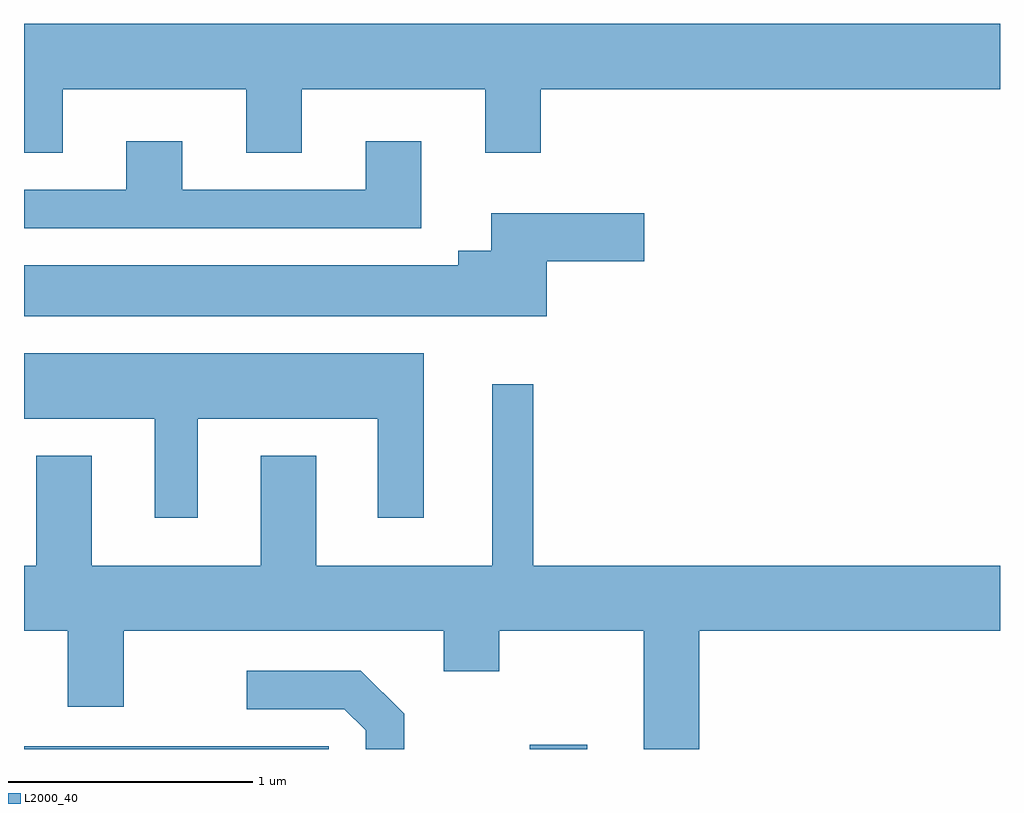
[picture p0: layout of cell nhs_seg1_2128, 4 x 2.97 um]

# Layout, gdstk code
import gdstk
lib = gdstk.Library(unit=1e-6, precision=1e-09)
def R(c, l, rs):  # rectangles x0, y0, x1, y1
    for r in rs: c.add(gdstk.rectangle(r[:2], r[2:], *l))
def P(c, l, *ps):  # polygons
    for p in ps: c.add(gdstk.Polygon(p, *l))
L2000_40 = (2000, 40)

nhs_seg1_2128 = lib.new_cell('nhs_seg1_2128')
R(nhs_seg1_2128, L2000_40, [(249.611,945.712,250.859,945.724), (251.683,945.712,251.919,945.729)])
P(nhs_seg1_2128, L2000_40, [(249.769,948.416),(250.521,948.416),(250.521,948.156),(250.749,948.156),(250.749,948.416),(251.501,948.416),(251.501,948.156),(251.729,948.156),(251.729,948.416),(253.611,948.416),(253.611,948.684),(249.611,948.684),(249.611,948.156),(249.769,948.156)],
  [(251.239,948.204),(251.011,948.204),(251.011,948.004),(250.259,948.004),(250.259,948.204),(250.031,948.204),(250.031,948.004),(249.611,948.004),(249.611,947.846),(251.239,947.846)],
  [(251.754,947.711),(252.154,947.711),(252.154,947.909),(251.526,947.909),(251.526,947.754),(251.391,947.754),(251.391,947.694),(249.611,947.694),(249.611,947.486),(251.754,947.486)],
  [(250.324,947.066),(251.061,947.066),(251.061,946.661),(251.249,946.661),(251.249,947.334),(249.611,947.334),(249.611,947.066),(250.146,947.066),(250.146,946.661),(250.324,946.661)],
  [(252.379,946.196),(253.611,946.196),(253.611,946.464),(251.699,946.464),(251.699,947.208),(251.531,947.208),(251.531,946.464),(250.809,946.464),(250.809,946.914),(250.581,946.914),(250.581,946.464),(249.889,946.464),(249.889,946.914),(249.661,946.914),(249.661,946.464),(249.611,946.464),(249.611,946.196),(249.791,946.196),(249.791,945.886),(250.019,945.886),(250.019,946.196),(251.331,946.196),(251.331,946.031),(251.559,946.031),(251.559,946.196),(252.151,946.196),(252.151,945.712),(252.379,945.712)],
  [(251.169,945.857),(250.992,946.034),(250.523,946.034),(250.523,945.876),(250.924,945.876),(251.011,945.789),(251.011,945.712),(251.169,945.712)])

lib.write_gds('nhs_seg1_2128.gds')
